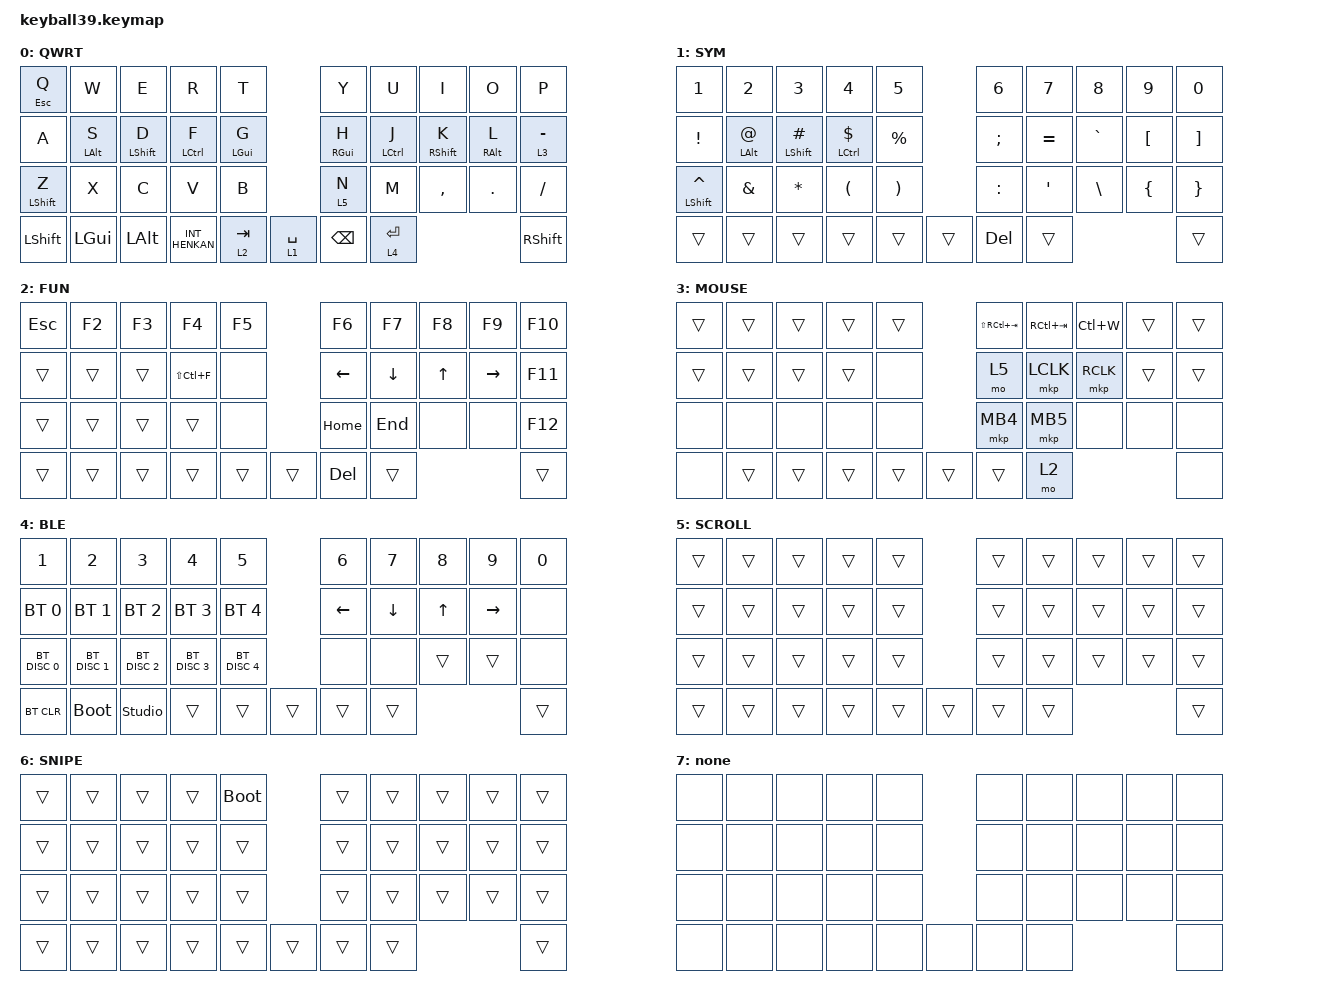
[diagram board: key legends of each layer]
#define DEFAULT 0
#define NUM     1
#define SYM     2
#define FUN     3
#define MOUSE   4
#define SCROLL  5
#define SNIPE   6

#include <behaviors/mouse_keys.dtsi>
#include <dt-bindings/zmk/mouse.h>
#include <dt-bindings/zmk/mouse.h>
#include <behaviors.dtsi>
#include <dt-bindings/zmk/bt.h>
#include <dt-bindings/zmk/keys.h>
#include <dt-bindings/zmk/pointing.h>

&lt {
    tapping-term-ms = <240>;
    flavor = "balanced";
    quick-tap-ms = <150>;
};

&mt {
    tapping-term-ms = <200>;
    flavor = "tap-preferred";
    quick-tap-ms = <150>;
};

&caps_word { continue-list = <UNDERSCORE MINUS>; };

/ {
    // custom shift using mod-morph 

    behaviors {
        cmqus: comma_question {
            compatible = "zmk,behavior-mod-morph";
            label = "COMMA_QUESTION";
            #binding-cells = <0>;
            bindings = <&kp COMMA>, <&kp QUESTION>;

            mods = <(MOD_LSFT|MOD_RSFT)>;
        };

        dtsmi: dot_semi {
            compatible = "zmk,behavior-mod-morph";
            label = "DOT_SEMI";
            #binding-cells = <0>;
            bindings = <&kp DOT>, <&kp SEMI>;

            mods = <(MOD_LSFT|MOD_RSFT)>;
        };
    };

    combos {
        compatible = "zmk,combos";

        hidari_click {
            bindings = <&mkp MB1>;
            key-positions = <16 15>;
            layers = <0>;
        };

        migi_click {
            bindings = <&mkp MB2>;
            key-positions = <17 16>;
            layers = <0>;
        };

        naka_click {
            bindings = <&mkp MB3>;
            key-positions = <17 18>;
            layers = <0>;
        };

        to0 {
            bindings = <&to 0>;
            key-positions = <38 30>;
            layers = <7>;
        };

        toNone {
            bindings = <&to 7>;
            key-positions = <30 38>;
            layers = <0>;
        };
    };

    keymap {
        compatible = "zmk,keymap";

        default_layer {
            label = "QWRT";
            bindings = <
&mt ESCAPE Q      &kp W           &kp E             &kp R           &kp T                                   &kp Y            &kp U               &kp I              &kp O            &kp P
&kp A             &mt LEFT_ALT S  &mt LEFT_SHIFT D  &mt LCTRL F     &mt LGUI G                              &mt RIGHT_GUI H  &mt LEFT_CONTROL J  &mt RIGHT_SHIFT K  &mt RIGHT_ALT L  &lt 3 MINUS
&mt LEFT_SHIFT Z  &kp X           &kp C             &kp V           &kp B                                   &lt 5 N          &kp M               &kp COMMA          &kp DOT          &kp SLASH
&kp LEFT_SHIFT    &kp LGUI        &kp LALT          &kp INT_HENKAN  &lt 2 TAB   &lt 1 SPACE  &kp BACKSPACE  &lt 4 ENTER                                                              &kp RSHFT
            >;
        };

        symbol_layer {
            label = "SYM";
            bindings = <
&kp NUMBER_1     &kp NUMBER_2          &kp NUMBER_3         &kp NUMBER_4             &kp N5                                     &kp NUMBER_6   &kp N7            &kp N8         &kp N9            &kp N0
&kp EXCLAMATION  &mt LEFT_ALT AT_SIGN  &mt LEFT_SHIFT HASH  &mt LEFT_CONTROL DOLLAR  &kp PERCENT                                &kp SEMICOLON  &kp EQUAL         &kp GRAVE      &kp LEFT_BRACKET  &kp RIGHT_BRACKET
&mt LSHFT CARET  &kp AMPERSAND         &kp ASTERISK         &kp LEFT_PARENTHESIS     &kp RIGHT_PARENTHESIS                      &kp COLON      &kp SINGLE_QUOTE  &kp BACKSLASH  &kp LEFT_BRACE    &kp RIGHT_BRACE
&trans           &trans                &trans               &trans                   &trans                 &trans  &kp DELETE  &trans                                                            &trans
            >;
        };

        function_layer {
            label = "FUN";
            bindings = <
&kp ESCAPE  &kp F2  &kp F3  &kp F4         &kp F5                      &kp F6          &kp F7          &kp F8        &kp F9           &kp F10
&trans      &trans  &trans  &kp LS(LC(F))  &none                       &kp LEFT_ARROW  &kp DOWN_ARROW  &kp UP_ARROW  &kp RIGHT_ARROW  &kp F11
&trans      &trans  &trans  &trans         &none                       &kp HOME        &kp END         &none         &none            &kp F12
&trans      &trans  &trans  &trans         &trans  &trans  &kp DELETE  &trans                                                         &trans
            >;
        };

        mouse_layer {
            label = "MOUSE";
            bindings = <
&trans  &trans  &trans  &trans  &trans                  &kp LS(RC(TAB))  &kp RC(TAB)  &kp LC(W)  &trans  &trans
&trans  &trans  &trans  &trans  &none                   &mo 5            &mkp LCLK    &mkp RCLK  &trans  &trans
&none   &none   &none   &none   &none                   &mkp MB4         &mkp MB5     &none      &none   &none
&none   &trans  &trans  &trans  &trans  &trans  &trans  &mo 2                                            &none
            >;
        };

        bluetooth_layer {
            label = "BLE";
            bindings = <
&kp NUMBER_1   &kp NUMBER_2   &kp NUMBER_3    &kp NUMBER_4   &kp NUMBER_5                   &kp NUMBER_6    &kp NUMBER_7    &kp NUMBER_8  &kp NUMBER_9     &kp NUMBER_0
&bt BT_SEL 0   &bt BT_SEL 1   &bt BT_SEL 2    &bt BT_SEL 3   &bt BT_SEL 4                   &kp LEFT_ARROW  &kp DOWN_ARROW  &kp UP_ARROW  &kp RIGHT_ARROW  &none
&bt BT_DISC 0  &bt BT_DISC 1  &bt BT_DISC 2   &bt BT_DISC 3  &bt BT_DISC 4                  &none           &none           &trans        &trans           &none
&bt BT_CLR     &bootloader    &studio_unlock  &trans         &trans         &trans  &trans  &trans                                                         &trans
            >;
        };

        scroll_layer {
            label = "SCROLL";
            bindings = <
&trans  &trans  &trans  &trans  &trans                  &trans  &trans  &trans  &trans  &trans
&trans  &trans  &trans  &trans  &trans                  &trans  &trans  &trans  &trans  &trans
&trans  &trans  &trans  &trans  &trans                  &trans  &trans  &trans  &trans  &trans
&trans  &trans  &trans  &trans  &trans  &trans  &trans  &trans                          &trans
            >;
        };

        snipe_layer {
            label = "SNIPE";
            bindings = <
&trans  &trans  &trans  &trans  &bootloader                  &trans  &trans  &trans  &trans  &trans
&trans  &trans  &trans  &trans  &trans                       &trans  &trans  &trans  &trans  &trans
&trans  &trans  &trans  &trans  &trans                       &trans  &trans  &trans  &trans  &trans
&trans  &trans  &trans  &trans  &trans       &trans  &trans  &trans                          &trans
            >;
        };

        nothing_layer {
            bindings = <
&none  &none  &none  &none  &none                &none  &none  &none  &none  &none
&none  &none  &none  &none  &none                &none  &none  &none  &none  &none
&none  &none  &none  &none  &none                &none  &none  &none  &none  &none
&none  &none  &none  &none  &none  &none  &none  &none                       &none
            >;

            label = "none";
        };
    };
};
